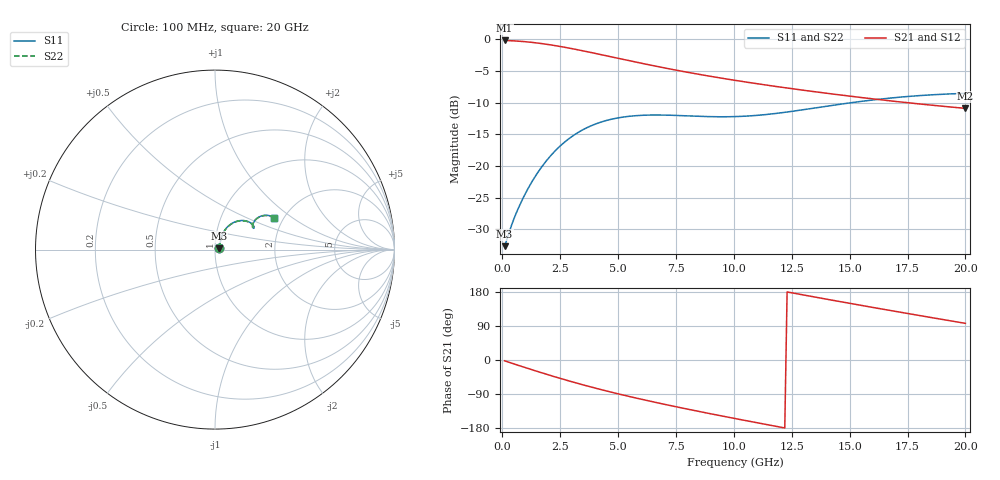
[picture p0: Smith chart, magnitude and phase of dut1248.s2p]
! Touchstone file exported from HFSS 2024.1.0
!  File:  C:/UserFiles/LocalFiles/RDL_TSV_Batchsim/temp_RDL_TSV_1248_1780269178.aedt
!  Generated:  07:33:45 AM Jun  1, 2026
!  Design:  RDL_TSV
!  Project:  temp_RDL_TSV_1248_1780269178
!  Setup:  Setup1
!  Solution:  Sweep
! Variables:
!  dtsv = 6.32um
!  hbump = 3um
!  htsv = 97.57um
!  ldown = 342.98um
!  lrdl = 690.18um
!  p = 40
!  p1 = 41.81um
!  rhole = 10um
!  subl = 3789.66um
!  t = 450um
!  tdown = 4.28um
!  trdl = 3.39um
!  viad = 10um
!  wdown = 22.26um
!  wrdl = 16.99um
!  xbump = 18um
# GHz S MA R 50.000000
! Terminal data exported
! Port[1] = TM1_1_T1
! Port[2] = TM1_4_T1
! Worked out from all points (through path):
!   200 points, 100 MHz to 20 GHz, reference 50 ohm
!   highest |S21| = -0.20 dB at 100 MHz (marker M1); lowest = -10.9 dB at 20 GHz (marker M2)
!   group delay of S21, straight-line fit = 35 ps
!   lowest |S11| = -32.6 dB at 100 MHz (marker M3), VSWR 1.05, Z = 52.3 + j0.658 ohm
!   |S11| at or under -10 dB: start of sweep to 15.09 GHz
!   |S22| runs from -32.6 to -8.6 dB; largest |S21 - S12| = 1.1e-14
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0.1  0.02334 15.6  0.9774 -2.1  0.9774 -2.1  0.02335 15.6
! Gamma 0 0 0 0
! Port Impedance 50 0 50 0
0.4  0.03415 41.4  0.9723 -8.2  0.9723 -8.2  0.03417 41.4
0.7  0.0468 52.7  0.9649 -14.2  0.9649 -14.2  0.04683 52.6
1.1  0.06586 60.4  0.9515 -22.1  0.9515 -22.1  0.06587 60.2
1.5  0.08714 63.4  0.9339 -29.9  0.9339 -29.9  0.0871 63.2
2  0.1155 63.5  0.9071 -39.4  0.9071 -39.4  0.1153 63.3
2.5  0.144 61.2  0.8763 -48.5  0.8763 -48.5  0.1436 60.9
3  0.1706 57.6  0.843 -57.3  0.843 -57.3  0.1701 57.4
3.5  0.1941 53.4  0.8086 -65.8  0.8086 -65.8  0.1934 53.2
4.3  0.2232 46.6  0.7534 -78.7  0.7534 -78.7  0.2222 46.4
5.2  0.243 39.8  0.6945 -92.2  0.6945 -92.2  0.2417 39.5
6  0.251 34.9  0.6468 -103.5  0.6468 -103.5  0.2494 34.7
6.8  0.2525 31.4  0.6039 -114.3  0.6039 -114.3  0.2508 31.2
7.6  0.2503 29.4  0.5658 -124.6  0.5658 -124.6  0.2484 29.2
8.4  0.247 28.8  0.5321 -134.6  0.5321 -134.6  0.245 28.6
10.1  0.2455 30.9  0.4723 -155.1  0.4723 -155.1  0.2435 30.8
11.7  0.2583 34.4  0.427 -173.6  0.427 -173.6  0.2564 34.4
13.4  0.285 36.5  0.3873 167.2  0.3873 167.2  0.2832 36.5
15  0.3145 36.1  0.3557 149.6  0.3557 149.6  0.3127 36.1
16.7  0.3426 33.9  0.3274 131.3  0.3274 131.3  0.3407 33.9
18.3  0.362 31.1  0.3049 114.4  0.3049 114.4  0.3599 31.0
20  0.374 28.1  0.285 96.7  0.285 96.7  0.3718 27.9
